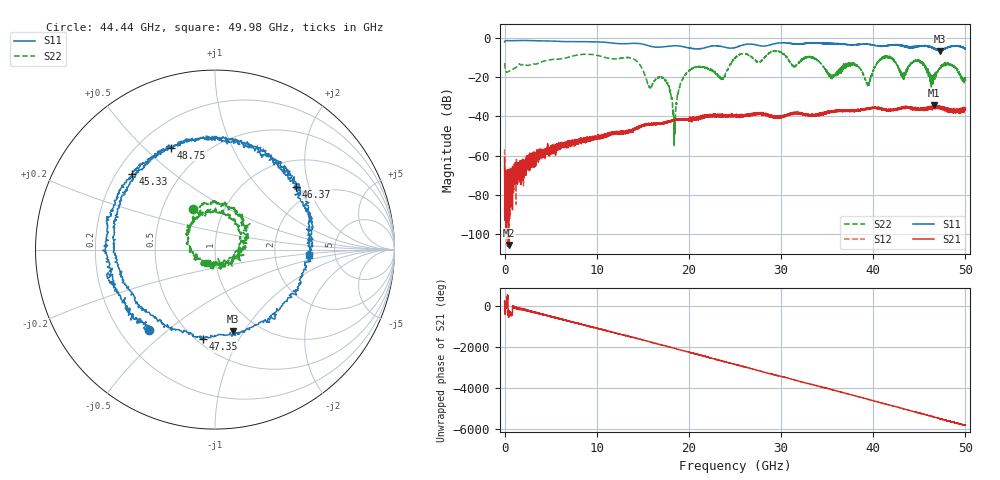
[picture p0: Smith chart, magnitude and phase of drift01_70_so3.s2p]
!Created with skrf (http://scikit-rf.org).
# Hz S RI R 50.0
!freq ReS11 ImS11 ReS21 ImS21 ReS12 ImS12 ReS22 ImS22
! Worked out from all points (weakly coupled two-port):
!   10001 points, 300 kHz to 50 GHz, reference 50 ohm
!   highest |S21| = -34.37 dB at 46.57 GHz (marker M1); lowest = -105.4 dB at 440.3 MHz (marker M2)
!   lowest |S11| = -6.6 dB at 47.21 GHz (marker M3), VSWR 2.74, Z = 38.4 - j44.6 ohm
!   |S11| at or under -10 dB: nowhere
!   |S22| runs from -55.4 to -6.6 dB; largest |S21 - S12| = 0.0049
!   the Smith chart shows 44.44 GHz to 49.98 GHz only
!   S11 on the Smith chart (normalised r, x): 44.44 GHz: 0.32, -0.43; 45.33 GHz: 0.26, +0.36; 46.37 GHz: 1.60, +1.66; 47.35 GHz: 0.54, -0.72; 48.75 GHz: 0.33, +0.61; 49.98 GHz: 3.19, -0.26
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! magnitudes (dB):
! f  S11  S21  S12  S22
! 300 kHz  -2.1  -60.7  -56.8  -12.9
! 440.3 MHz  -1.4  -105.4  -71.3  -17.1
! 8.335 GHz  -1.9  -51.7  -52.6  -8.5
! 16.67 GHz  -4.8  -43.4  -43.8  -20.0
! 17.74 GHz  -4.3  -42.9  -42.7  -24.5
! 18.45 GHz  -4.0  -41.8  -41.7  -43.5
! 19.95 GHz  -5.1  -41.8  -41.7  -17.0
! 23.63 GHz  -4.5  -39.5  -39.9  -20.8
! 25 GHz  -5.0  -39.6  -39.2  -10.2
! 33.34 GHz  -2.6  -39.4  -39.3  -9.9
! 39.43 GHz  -3.3  -36.1  -36.3  -23.7
! 41.67 GHz  -3.8  -36.4  -37.0  -10.2
! 43.24 GHz  -4.2  -36.0  -35.3  -19.3
! 44.44 GHz  -4.7  -36.5  -35.8  -11.7
! 45.33 GHz  -4.1  -36.4  -36.6  -13.0
! 46.37 GHz  -4.8  -35.4  -35.0  -20.5
! 46.57 GHz  -5.4  -34.4  -35.2  -20.2
! 47.21 GHz  -6.6  -35.9  -35.0  -15.6
! 47.35 GHz  -6.0  -34.8  -35.7  -14.9
! 48.75 GHz  -4.2  -37.3  -37.5  -14.8
! 49.98 GHz  -5.6  -36.5  -36.6  -21.3
! 50 GHz  -5.4  -35.7  -36.5  -22.0
